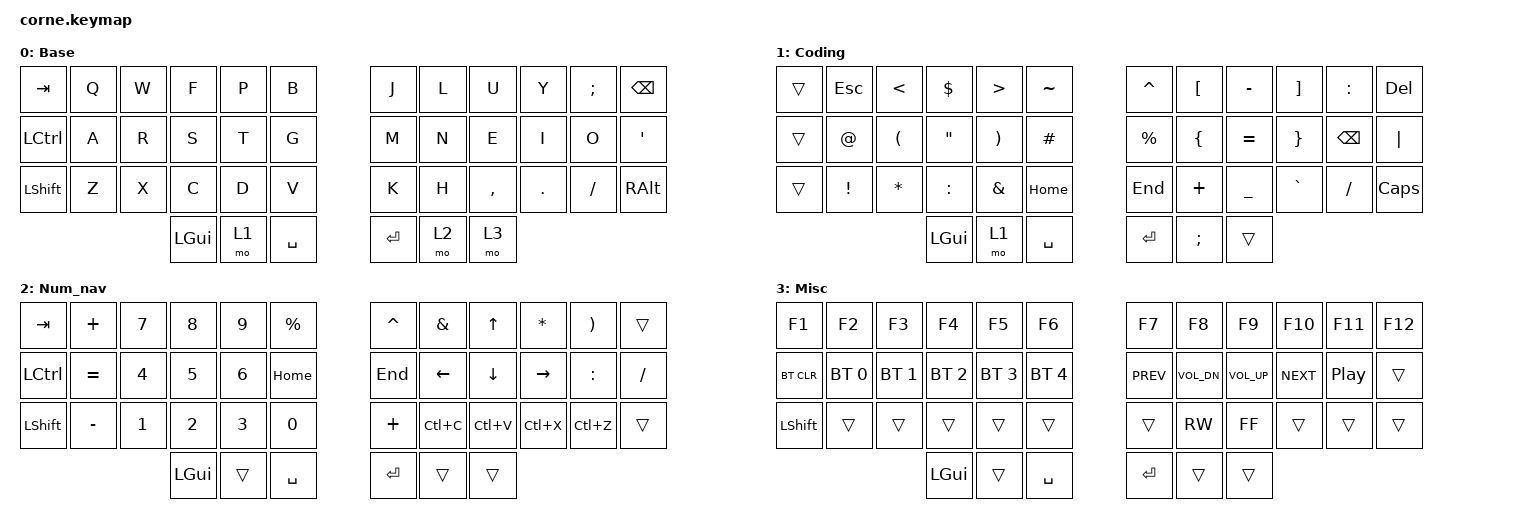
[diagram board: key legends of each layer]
/*
 * Copyright (c) 2020 The ZMK Contributors
 *
 * SPDX-License-Identifier: MIT
 */

#include <behaviors.dtsi>
#include <dt-bindings/zmk/keys.h>
#include <dt-bindings/zmk/bt.h>

/ {
        keymap {
                compatible = "zmk,keymap";

                default_layer {
// -----------------------------------------------------------------------------------------
// |  TAB |  Q  |  W  |  F  |  P  |  B  |   |  J  |  L   |  U  |  Y  |  ;  | BKSP |
// | CTRL |  A  |  R  |  S  |  T  |  G  |   |  M  |  N   |  E  |  I  |  O  |  '   |
// | SHFT |  Z  |  X  |  C  |  D  |  V  |   |  K  |  H   |  ,  |  .  |  /  | RALT |
//                    | GUI | CDE | SPC |   | ENT | SYM  | MSC |
                        label = "Base";
                        bindings = <
   &kp TAB   &kp Q &kp W &kp F &kp P &kp B   &kp J &kp L  &kp U     &kp Y   &kp SEMI &kp BSPC
   &kp LCTRL &kp A &kp R &kp S &kp T &kp G   &kp M &kp N  &kp E     &kp I   &kp O    &kp SQT
   &kp LSHFT &kp Z &kp X &kp C &kp D &kp V   &kp K &kp H  &kp COMMA &kp DOT &kp FSLH &kp RALT
                  &kp LGUI &mo 1 &kp SPACE   &kp RET &mo 2 &mo 3
                        >;
                };

                coding {
// -----------------------------------------------------------------------------------------
// |  TAB | ESC |  <  |  $  |  >  |  ~  |   |  ^  |  [   |  -  |  ]  |  :   | DEL  |
// | CTRL |  @  |  (  |  "  |  )  |  #  |   |  %  |  {   |  =  |  }  | BKSP |  |   |
// | SHFT |  !  |  *  |  :  |  &  |HOME |   | END |  +   |  _  |  `  |  \   | CAPS |
//                    | GUI | LWR | SPC |   | ENT |  ;   |     |
                        label = "Coding";
                        bindings = <
   &trans &kp ESC  &kp LT   &kp DLLR  &kp GT   &kp TILDE    &kp CARET &kp LBKT  &kp  MINUS  &kp RBKT   &kp COLON  &kp DEL
   &trans &kp AT   &kp LPAR &kp DQT   &kp RPAR &kp HASH     &kp PRCNT &kp LBRC  &kp  EQUAL  &kp RBRC   &kp BKSP   &kp PIPE
   &trans &kp EXCL &kp STAR &kp COLON &kp AMPS &kp HOME     &kp END   &kp PLUS  &kp UNDER   &kp GRAVE  &kp FSLH   &kp CAPS
                  &kp LGUI &mo 1 &kp SPACE   &kp RET &kp SEMI &trans
                        >;
                };


                num_nav_layer {
// -----------------------------------------------------------------------------------------
// |  TAB |  +  |  7  |  8  |  9  |  %  |   |  ^  |  &  |  UP  |  *  |  )  | BKSP |
// | CTRL |  =  |  4  |  5  |  6  | HOME|   | END | LEFT| DOWN |RIGHT|  : |   \   |
// | SHFT |  -  |  1  |  2  |  3  |  0  |   | +   |  CP  |  PST  |  CUT  | UNDO |  RALT   |
//                    | GUI |     | SPC |   | ENT |      |     |
                        label = "Num_nav";
                        bindings = <
   &kp  TAB  &kp PLUS  &kp N7 &kp N8 &kp N9 &kp PRCNT    &kp CARET &kp AMPS  &kp UP    &kp STAR  &kp RPAR  &trans
   &kp LCTRL &kp EQUAL &kp N4 &kp N5 &kp N6 &kp HOME     &kp END   &kp LEFT  &kp DOWN  &kp RIGHT &kp COLON &kp FSLH
   &kp LSHFT &kp MINUS &kp N1 &kp N2 &kp N3 &kp N0       &kp PLUS  &kp LC(C) &kp LC(V) &kp LC(X) &kp LC(Z) &trans
                    	      &kp LGUI &trans &kp SPACE    &kp RET   &trans    &trans
                        >;
                };

                misc {
// -----------------------------------------------------------------------------------------
// |  F1  |  F2  |  F3  |  F4  |  F5  |  F6 |    |  F7  |  F8  |  F9  |  F10  |  F11  |  F12 |
// | BTCLR| BT1  | BT2  | BT3  | BT4  | BT5 |    | PREV |  VDN |  VUP |  NXT  |   PLY |      |
// | SHFT |     |     |     |     |     |   |    |  RW  |  FF  |      |       |       |      |
//                        | GUI |     | SPC |    | ENT  |      |      |
                        label = "Misc";
                        bindings = <
   &kp F1     &kp F2       &kp F3       &kp F4       &kp F5       &kp F6         &kp F7     &kp F8         &kp F9       &kp F10    &kp F11  &kp F12
   &bt BT_CLR &bt BT_SEL 0 &bt BT_SEL 1 &bt BT_SEL 2 &bt BT_SEL 3 &bt BT_SEL 4   &kp C_PREV &kp C_VOL_DN   &kp C_VOL_UP &kp C_NEXT &kp C_PP &trans
   &kp LSHFT  &trans       &trans       &trans       &trans       &trans         &trans     &kp C_RW       &kp C_FF     &trans     &trans   &trans
                          	            &kp LGUI     &trans       &kp SPACE      &kp RET    &trans         &trans
                        >;
                };

        };
};
